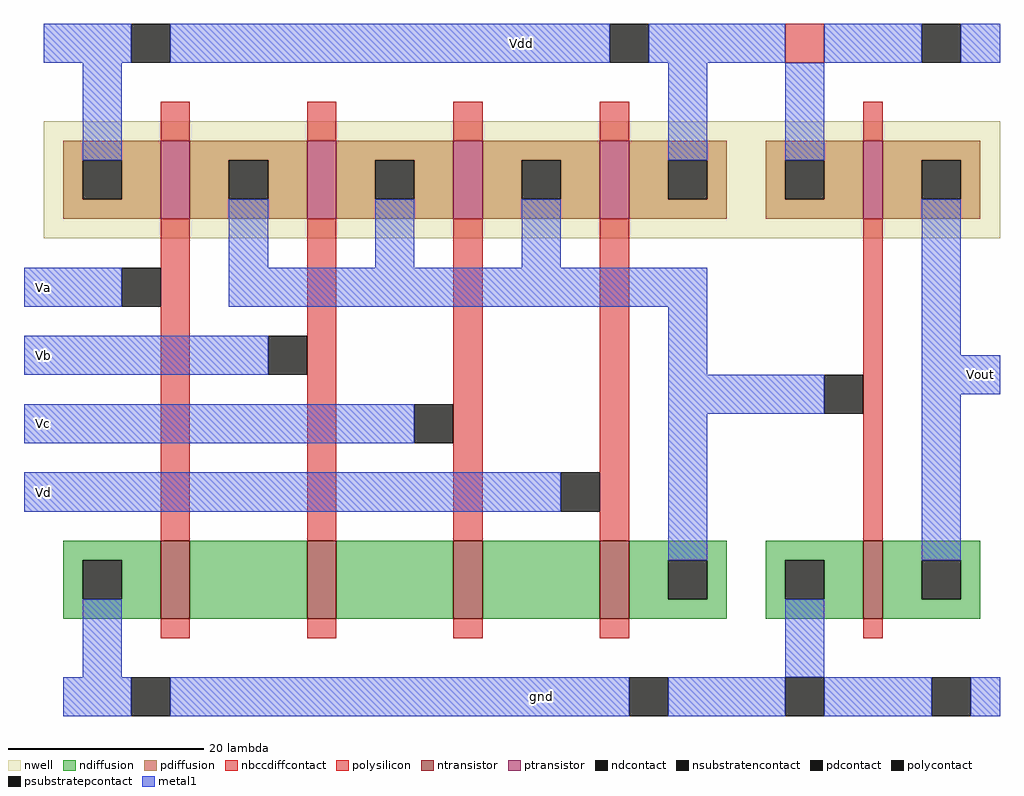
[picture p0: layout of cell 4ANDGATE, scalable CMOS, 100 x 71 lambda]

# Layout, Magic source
magic
tech scmos
<< nwell >>
rect -24 46 74 58
<< polysilicon >>
rect -12 56 -9 60
rect 3 56 6 60
rect 18 56 21 60
rect 33 56 36 60
rect 60 56 62 60
rect -12 15 -9 48
rect 3 15 6 48
rect 18 15 21 48
rect 33 15 36 48
rect 60 15 62 48
rect -12 5 -9 7
rect 3 5 6 7
rect 18 5 21 7
rect 33 5 36 7
rect 60 5 62 7
<< ndiffusion >>
rect -22 13 -12 15
rect -22 9 -20 13
rect -16 9 -12 13
rect -22 7 -12 9
rect -9 7 3 15
rect 6 7 18 15
rect 21 7 33 15
rect 36 13 46 15
rect 36 9 40 13
rect 44 9 46 13
rect 36 7 46 9
rect 50 13 60 15
rect 50 9 52 13
rect 56 9 60 13
rect 50 7 60 9
rect 62 13 72 15
rect 62 9 66 13
rect 70 9 72 13
rect 62 7 72 9
<< pdiffusion >>
rect -22 54 -12 56
rect -22 50 -20 54
rect -16 50 -12 54
rect -22 48 -12 50
rect -9 54 3 56
rect -9 50 -5 54
rect -1 50 3 54
rect -9 48 3 50
rect 6 54 18 56
rect 6 50 10 54
rect 14 50 18 54
rect 6 48 18 50
rect 21 54 33 56
rect 21 50 25 54
rect 29 50 33 54
rect 21 48 33 50
rect 36 54 46 56
rect 36 50 40 54
rect 44 50 46 54
rect 36 48 46 50
rect 50 54 60 56
rect 50 50 52 54
rect 56 50 60 54
rect 50 48 60 50
rect 62 54 72 56
rect 62 50 66 54
rect 70 50 72 54
rect 62 48 72 50
<< metal1 >>
rect -24 64 -15 68
rect -11 64 34 68
rect 38 64 52 68
rect 56 64 66 68
rect 70 64 74 68
rect -20 54 -16 64
rect 40 54 44 64
rect -5 43 -1 50
rect 10 43 14 50
rect 52 54 56 64
rect 25 43 29 50
rect -26 39 -16 43
rect -5 39 44 43
rect -26 32 -1 36
rect 40 32 44 39
rect 66 34 70 50
rect -26 25 14 29
rect 40 28 56 32
rect 66 30 74 34
rect -26 18 29 22
rect 40 13 44 28
rect 66 13 70 30
rect -20 1 -16 9
rect 52 1 56 9
rect -22 -3 -15 1
rect -11 -3 36 1
rect 40 -3 52 1
rect 56 -3 67 1
rect 71 -3 74 1
<< ntransistor >>
rect -12 7 -9 15
rect 3 7 6 15
rect 18 7 21 15
rect 33 7 36 15
rect 60 7 62 15
<< ptransistor >>
rect -12 48 -9 56
rect 3 48 6 56
rect 18 48 21 56
rect 33 48 36 56
rect 60 48 62 56
<< polycontact >>
rect -16 39 -12 43
rect -1 32 3 36
rect 14 25 18 29
rect 29 18 33 22
rect 56 28 60 32
<< ndcontact >>
rect -20 9 -16 13
rect 40 9 44 13
rect 52 9 56 13
rect 66 9 70 13
<< pdcontact >>
rect -20 50 -16 54
rect -5 50 -1 54
rect 10 50 14 54
rect 25 50 29 54
rect 40 50 44 54
rect 52 50 56 54
rect 66 50 70 54
<< nbccdiffcontact >>
rect 52 64 56 68
<< psubstratepcontact >>
rect -15 -3 -11 1
rect 36 -3 40 1
rect 52 -3 56 1
rect 67 -3 71 1
<< nsubstratencontact >>
rect -15 64 -11 68
rect 34 64 38 68
rect 66 64 70 68
<< labels >>
rlabel metal1 -24 41 -24 41 3 Va
rlabel metal1 -24 34 -24 34 3 Vb
rlabel metal1 -24 27 -24 27 3 Vc
rlabel metal1 -24 20 -24 20 3 Vd
rlabel metal1 72 32 72 32 7 Vout
rlabel metal1 25 66 25 66 5 Vdd
rlabel metal1 27 -1 27 -1 1 gnd
<< end >>
